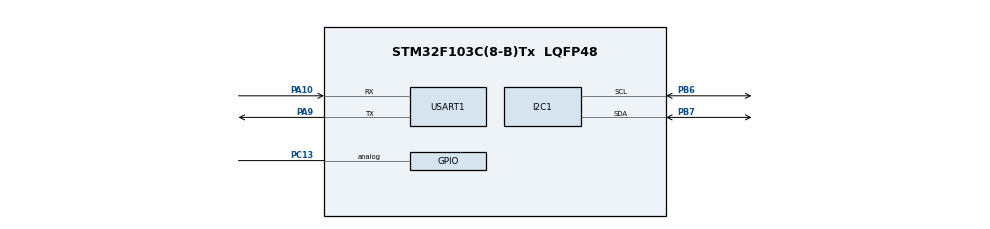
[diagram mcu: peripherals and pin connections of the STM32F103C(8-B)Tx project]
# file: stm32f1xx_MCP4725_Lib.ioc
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Mcu.Family=STM32F1
Mcu.Name=STM32F103C(8-B)Tx
Mcu.Package=LQFP48
NVIC.PriorityGroup=NVIC_PRIORITYGROUP_4
NVIC.USART1_IRQn=true\:1\:0\:true\:false\:false\:true\:false
PA10.Mode=Asynchronous
PA10.Signal=USART1_RX
PA13.Mode=Serial_Wire
PA13.Signal=SYS_JTMS-SWDIO
PA14.Mode=Serial_Wire
PA14.Signal=SYS_JTCK-SWCLK
PA9.Mode=Asynchronous
PA9.Signal=USART1_TX
PB6.Mode=I2C
PB6.Signal=I2C1_SCL
PB7.Mode=I2C
PB7.Signal=I2C1_SDA
PC13-TAMPER-RTC.Signal=GPIO_Analog
PD0-OSC_IN.Mode=HSE-External-Oscillator
PD0-OSC_IN.Signal=RCC_OSC_IN
PD1-OSC_OUT.Mode=HSE-External-Oscillator
PD1-OSC_OUT.Signal=RCC_OSC_OUT
ProjectManager.HeapSize=0x200
ProjectManager.StackSize=0x400
ProjectManager.TargetToolchain=STM32CubeIDE
RCC.AHBFreq_Value=72000000
RCC.APB1CLKDivider=RCC_HCLK_DIV2
RCC.APB1Freq_Value=36000000
RCC.APB1TimFreq_Value=72000000
RCC.APB2Freq_Value=72000000
RCC.APB2TimFreq_Value=72000000
RCC.HCLKFreq_Value=72000000
RCC.PLLMUL=RCC_PLL_MUL9
RCC.PLLSourceVirtual=RCC_PLLSOURCE_HSE
RCC.SYSCLKFreq_VALUE=72000000
RCC.SYSCLKSource=RCC_SYSCLKSOURCE_PLLCLK
RCC.USBFreq_Value=72000000
USART1.VirtualMode=VM_ASYNC
board=custom

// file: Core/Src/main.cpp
/* USER CODE BEGIN Header */
/**
 ******************************************************************************
 * @file           : main.c
 * @brief          : Main program body
 ******************************************************************************
 * @attention
 *
 * <h2><center>&copy; Copyright (c) 2020 STMicroelectronics.
 * All rights reserved.</center></h2>
 *
 * This software component is licensed by ST under BSD 3-Clause license,
 * the "License"; You may not use this file except in compliance with the
 * License. You may obtain a copy of the License at:
 *                        opensource.org/licenses/BSD-3-Clause
 *
 ******************************************************************************
 */
/* USER CODE END Header */
#include "main.h"

/* USER CODE BEGIN Includes */
#include "Serial.h"
#include <stdio.h>
#include "DACMCP4725.h"

/* USER CODE END Includes */

I2C_HandleTypeDef hi2c1;

UART_HandleTypeDef huart1;

/* USER CODE BEGIN PV */

/* direccion del dac con el pin A0 conectado a vcc */
DAC_MCP4725 dac(&hi2c1, 0x61);
Serial serial( &huart1 );
/* USER CODE END PV */

void SystemClock_Config( void );
static void MX_GPIO_Init( void );
static void MX_I2C1_Init( void );
static void MX_USART1_UART_Init( void );
/* USER CODE BEGIN PFP */

void USART1_IRQHandler( void );

/* USER CODE END PFP */

int main( void )
{

    /* MCU Configuration--------------------------------------------------------*/

    /* Reset of all peripherals, Initializes the Flash interface and the Systick. */
    HAL_Init();

    /* Configure the system clock */
    SystemClock_Config();

    /* Initialize all configured peripherals */
    MX_GPIO_Init();
    MX_I2C1_Init();
    MX_USART1_UART_Init();
    /* USER CODE BEGIN 2 */

    /* escribe el valor en el registro temporal del dac */
    dac.setValue( 1000, REG_DAC_TEMP );
    /* se escribe el valor en la eeprom del dac, al cambiar este valor
     * tambien se carga automaticamente en el registro temporal.
     */
    dac.setValue( 10, REG_DAC_EEPROM );

    __HAL_UART_ENABLE_IT( &huart1, UART_IT_RXNE );
    /* USER CODE END 2 */

    /* Infinite loop */
    /* USER CODE BEGIN WHILE */
    while ( 1 )
    {
        HAL_Delay( 1000 );
        /* leer el registro temporal del dac */
        serial.print("valor dac = %d \r\n",dac.getValue(REG_DAC_TEMP));
        /* lee la eeprom del dac */
        serial.print("valor eeprom = %d \r\n",dac.getValue(REG_DAC_EEPROM));
        /* USER CODE END WHILE */

    }
}

void SystemClock_Config( void )
{
    RCC_OscInitTypeDef RCC_OscInitStruct =
    { 0 };
    RCC_ClkInitTypeDef RCC_ClkInitStruct =
    { 0 };

    /** Initializes the RCC Oscillators according to the specified parameters
     * in the RCC_OscInitTypeDef structure.
     */
    RCC_OscInitStruct.OscillatorType = RCC_OSCILLATORTYPE_HSE;
    RCC_OscInitStruct.HSEState = RCC_HSE_ON;
    RCC_OscInitStruct.HSEPredivValue = RCC_HSE_PREDIV_DIV1;
    RCC_OscInitStruct.HSIState = RCC_HSI_ON;
    RCC_OscInitStruct.PLL.PLLState = RCC_PLL_ON;
    RCC_OscInitStruct.PLL.PLLSource = RCC_PLLSOURCE_HSE;
    RCC_OscInitStruct.PLL.PLLMUL = RCC_PLL_MUL9;
    if ( HAL_RCC_OscConfig( &RCC_OscInitStruct ) != HAL_OK )
    {
        Error_Handler();
    }
    /** Initializes the CPU, AHB and APB buses clocks
     */
    RCC_ClkInitStruct.ClockType = RCC_CLOCKTYPE_HCLK | RCC_CLOCKTYPE_SYSCLK
            | RCC_CLOCKTYPE_PCLK1 | RCC_CLOCKTYPE_PCLK2;
    RCC_ClkInitStruct.SYSCLKSource = RCC_SYSCLKSOURCE_PLLCLK;
    RCC_ClkInitStruct.AHBCLKDivider = RCC_SYSCLK_DIV1;
    RCC_ClkInitStruct.APB1CLKDivider = RCC_HCLK_DIV2;
    RCC_ClkInitStruct.APB2CLKDivider = RCC_HCLK_DIV1;

    if ( HAL_RCC_ClockConfig( &RCC_ClkInitStruct, FLASH_LATENCY_2 ) != HAL_OK )
    {
        Error_Handler();
    }
}

static void MX_I2C1_Init( void )
{

    hi2c1.Instance = I2C1;
    hi2c1.Init.ClockSpeed = 100000;
    hi2c1.Init.DutyCycle = I2C_DUTYCYCLE_2;
    hi2c1.Init.OwnAddress1 = 0;
    hi2c1.Init.AddressingMode = I2C_ADDRESSINGMODE_7BIT;
    hi2c1.Init.DualAddressMode = I2C_DUALADDRESS_DISABLE;
    hi2c1.Init.OwnAddress2 = 0;
    hi2c1.Init.GeneralCallMode = I2C_GENERALCALL_DISABLE;
    hi2c1.Init.NoStretchMode = I2C_NOSTRETCH_DISABLE;
    if ( HAL_I2C_Init( &hi2c1 ) != HAL_OK )
    {
        Error_Handler();
    }

}

static void MX_USART1_UART_Init( void )
{

    huart1.Instance = USART1;
    huart1.Init.BaudRate = 115200;
    huart1.Init.WordLength = UART_WORDLENGTH_8B;
    huart1.Init.StopBits = UART_STOPBITS_1;
    huart1.Init.Parity = UART_PARITY_NONE;
    huart1.Init.Mode = UART_MODE_TX_RX;
    huart1.Init.HwFlowCtl = UART_HWCONTROL_NONE;
    huart1.Init.OverSampling = UART_OVERSAMPLING_16;
    if ( HAL_UART_Init( &huart1 ) != HAL_OK )
    {
        Error_Handler();
    }

}

static void MX_GPIO_Init( void )
{
    GPIO_InitTypeDef GPIO_InitStruct =
    { 0 };

    /* GPIO Ports Clock Enable */
    __HAL_RCC_GPIOC_CLK_ENABLE( );
    __HAL_RCC_GPIOD_CLK_ENABLE( );
    __HAL_RCC_GPIOA_CLK_ENABLE( );
    __HAL_RCC_GPIOB_CLK_ENABLE( );

    /*Configure GPIO pin : PC13 */
    GPIO_InitStruct.Pin = GPIO_PIN_13;
    GPIO_InitStruct.Mode = GPIO_MODE_ANALOG;
    HAL_GPIO_Init( GPIOC, &GPIO_InitStruct );

}

/* USER CODE BEGIN 4 */

/**
 * podemos enviar desde la pc un valor entre 0 y 4095 para almacenarlo en el
 * registro temporal del dac.
 */
void USART1_IRQHandler( void )
{
    uint8_t pData[10];
    uint16_t val_dac;
    /* limpia el array */
    memset( pData, 0, sizeof( pData ) );
    /* verifica que la fuente de interrupcion fue por la
     * recepcion de datos.
     */
    if ( __HAL_UART_GET_IT_SOURCE( &huart1, UART_IT_RXNE ) )
    {
        serial.receive( pData, 1, INTER_BYTE_TIMEOUT );
        val_dac = atoi( (char*) pData ); //convierte a entero el valor recibido

        dac.setValue( val_dac, REG_DAC_TEMP );
    }

    serial.print( pData ); // imprimo el valor reibido
    /* limpia las interuupciones pendientes por el usart1 */
    HAL_NVIC_ClearPendingIRQ( USART1_IRQn ); //

}
/* USER CODE END 4 */

void Error_Handler( void )
{
}

/************************ (C) COPYRIGHT STMicroelectronics *****END OF FILE****/
